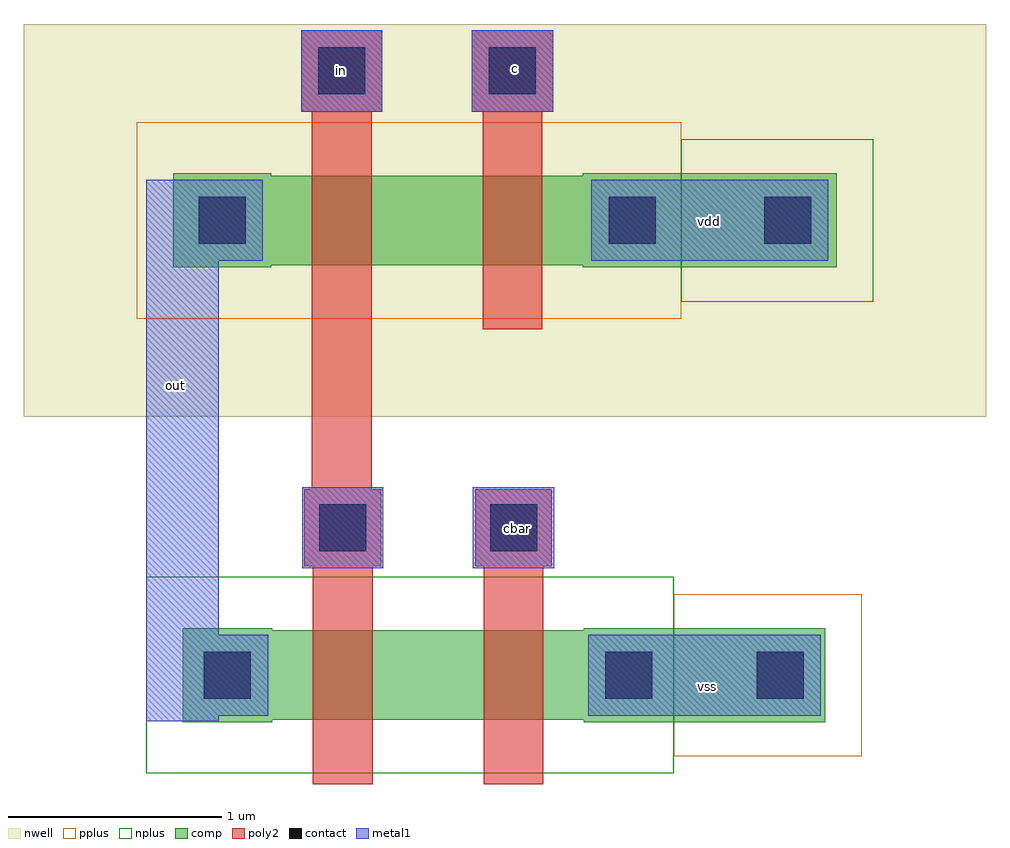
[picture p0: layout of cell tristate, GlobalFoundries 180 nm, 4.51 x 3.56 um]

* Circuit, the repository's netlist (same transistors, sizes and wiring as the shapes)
** sch_path: /foss/designs/CAD2/tristate.sch
.subckt tristate vdd c out in cbar vss
*.PININFO in:I out:O vdd:B vss:B c:I cbar:I
M1 net1 c vdd vdd pfet_03v3 L=0.28u W=0.42u nf=1 m=1
M2 out in net1 vdd pfet_03v3 L=0.28u W=0.42u nf=1 m=1
M3 out in net2 vss nfet_03v3 L=0.28u W=0.42u nf=1 m=1
M4 net2 cbar vss vss nfet_03v3 L=0.28u W=0.42u nf=1 m=1
.ends

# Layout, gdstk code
import gdstk
lib = gdstk.Library(unit=1e-6, precision=5e-09)
def R(c, l, rs):  # rectangles x0, y0, x1, y1
    for r in rs: c.add(gdstk.rectangle(r[:2], r[2:], *l))
nwell = (21, 0)
comp = (22, 0)
poly2 = (30, 0)
pplus = (31, 0)
nplus = (32, 0)
contact = (33, 0)
metal1 = (34, 0)

nfet = lib.new_cell('nfet')
R(nfet, comp, [(-0.42,-0.01,0,0.43), (1.46,-0.01,1.88,0.43), (1.88,-0.01,2.59,0.43), (0,0,1.46,0.42)])
R(nfet, poly2, [(0.19,-0.3,0.47,0.72), (0.99,-0.3,1.27,0.72), (0.15,0.72,0.51,1.08), (0.95,0.72,1.31,1.08)])
R(nfet, pplus, [(1.88,-0.17,2.76,0.59)])
R(nfet, nplus, [(-0.59,-0.25,1.88,0.67)])
R(nfet, contact, [(-0.32,0.1,-0.1,0.32), (1.56,0.1,1.78,0.32), (2.27,0.1,2.49,0.32), (0.22,0.79,0.44,1.01), (1.02,0.79,1.24,1.01)])
R(nfet, metal1, [(-0.4,0.02,-0.02,0.4), (1.48,0.02,1.86,0.4), (2.19,0.02,2.57,0.4), (0.14,0.71,0.52,1.09), (0.94,0.71,1.32,1.09)])

pfet = lib.new_cell('pfet')
R(pfet, nwell, [(-1.16,-0.71,3.35,1.13)])
R(pfet, comp, [(-0.46,-0.01,0,0.43), (1.46,-0.01,1.92,0.43), (1.92,-0.01,2.65,0.43), (0,0,1.46,0.42)])
R(pfet, poly2, [(0.19,-0.3,0.47,0.72), (0.99,-0.3,1.27,0.72), (0.14,0.72,0.52,1.1), (0.94,0.72,1.32,1.1)])
R(pfet, pplus, [(-0.63,-0.25,1.92,0.67)])
R(pfet, nplus, [(1.92,-0.17,2.82,0.59)])
R(pfet, contact, [(-0.34,0.1,-0.12,0.32), (1.58,0.1,1.8,0.32), (2.31,0.1,2.53,0.32), (0.22,0.8,0.44,1.02), (1.02,0.8,1.24,1.02)])
R(pfet, metal1, [(-0.42,0.02,-0.04,0.4), (1.5,0.02,1.88,0.4), (2.23,0.02,2.61,0.4), (0.14,0.72,0.52,1.1), (0.94,0.72,1.32,1.1)])

tristate = lib.new_cell('tristate')
R(tristate, poly2, [(0.13,-2.89,0.41,-2.14)])
R(tristate, metal1, [(-0.645,-3.975,-0.305,-1.44), (1.805,-3.95,2.135,-3.57), (1.82,-1.82,2.17,-1.44)])
tristate.add(gdstk.Reference(nfet, (-0.055,-3.97)))
tristate.add(gdstk.Reference(pfet, (-0.06,-1.84)))
tristate.add(gdstk.Label('vdd', (1.995,-1.635), layer=34, texttype=10))
tristate.add(gdstk.Label('vss', (1.985,-3.815), layer=34, texttype=10))
tristate.add(gdstk.Label('c', (1.085,-0.92), layer=34, texttype=10))
tristate.add(gdstk.Label('cbar', (1.095,-3.075), layer=34, texttype=10))
tristate.add(gdstk.Label('in', (0.27,-0.93), layer=34, texttype=10))
tristate.add(gdstk.Label('out', (-0.51,-2.405), layer=34, texttype=10))

lib.write_gds('tristate.gds')
